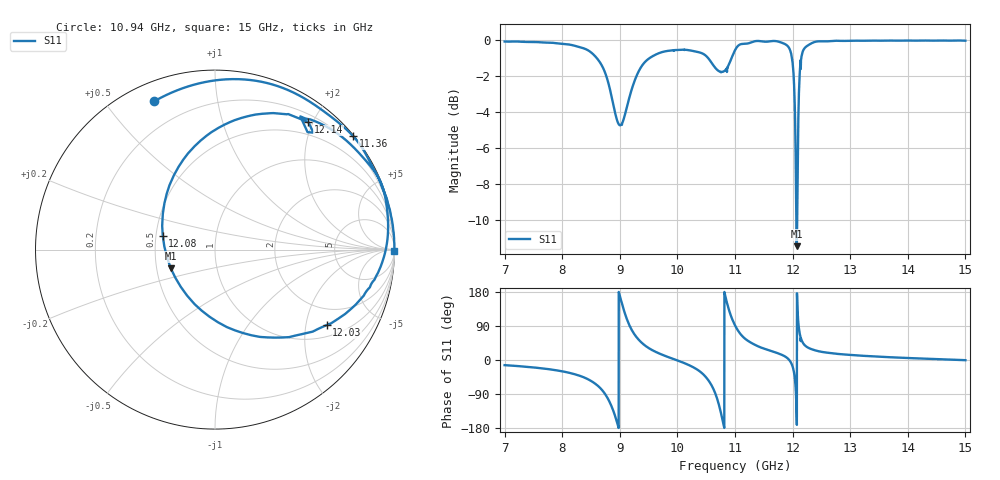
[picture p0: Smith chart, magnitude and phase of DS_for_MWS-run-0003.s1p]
! TOUCHSTONE file generated by CST DESIGN STUDIO
! Date and time: Mon Feb 10 16:41:28 2025
! Project name: C:\Work\MatlabApps\UnitCellType2OptimizationMatlab\CST\unitcell.cst
! Tree item: Tasks\Sweep1\SPara1\S-Parameters
! Header version: 2024
! Port assignment regex: !\s*Touchstone port\s*([0-9]+)\s*=\s*(CST MWS port|CST DES external port|CST DES block port)\s*(.+)\s* \(\"(.*)\"\)(\s*mode\s*([0-9]+))?.*
! Touchstone port assignment:
! Touchstone port 1 = CST DES external port 1 ("")
# GHz S MA R 50
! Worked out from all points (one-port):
!   4001 points, 7 GHz to 15 GHz, reference 50 ohm
!   lowest |S11| = -11.5 dB at 12.07 GHz (marker M1), VSWR 1.73, Z = 29.7 - j6.72 ohm
!   |S11| at or under -10 dB: 12.06466 GHz to 12.07939 GHz (14.73 MHz wide, 0.122 % of centre)
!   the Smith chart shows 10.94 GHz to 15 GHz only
!   S11 on the Smith chart (normalised r, x): 10.94 GHz: 0.08, +0.67; 11.36 GHz: 0.02, +2.80; 12.03 GHz: 1.36, -2.63; 12.08 GHz: 0.54, +0.09; 12.14 GHz: 0.31, +1.93; 15 GHz: open
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7  0.9934 -13.6
8  0.9786 -29.8
8.442  0.9401 -50.4
8.73  0.8246 -86.7
8.858  0.6971 -122.7
9  0.5806 169.7
9.114  0.6438 111.5
9.232  0.7523 72.9
9.512  0.892 30.5
10  0.9414 -1.1
10.438  0.9195 -36.3
10.67  0.8346 -93.2
10.738  0.8189 -128.3
10.808  0.8207 -175.0
10.94  0.8929 112.3
11  0.9394 91.5
11.142  0.9786 60.6
11.356  0.9958 39.3
11.848  0.9804 11.1
12  0.8677 -17.2
12.026  0.7511 -34.1
12.072  0.2674 -156.9
12.078  0.3013 165.0
12.138  0.8802 53.8
12.314  0.9793 29.4
13  0.9987 13.4
14  0.9995 5.3
15  0.9986 -0.5
